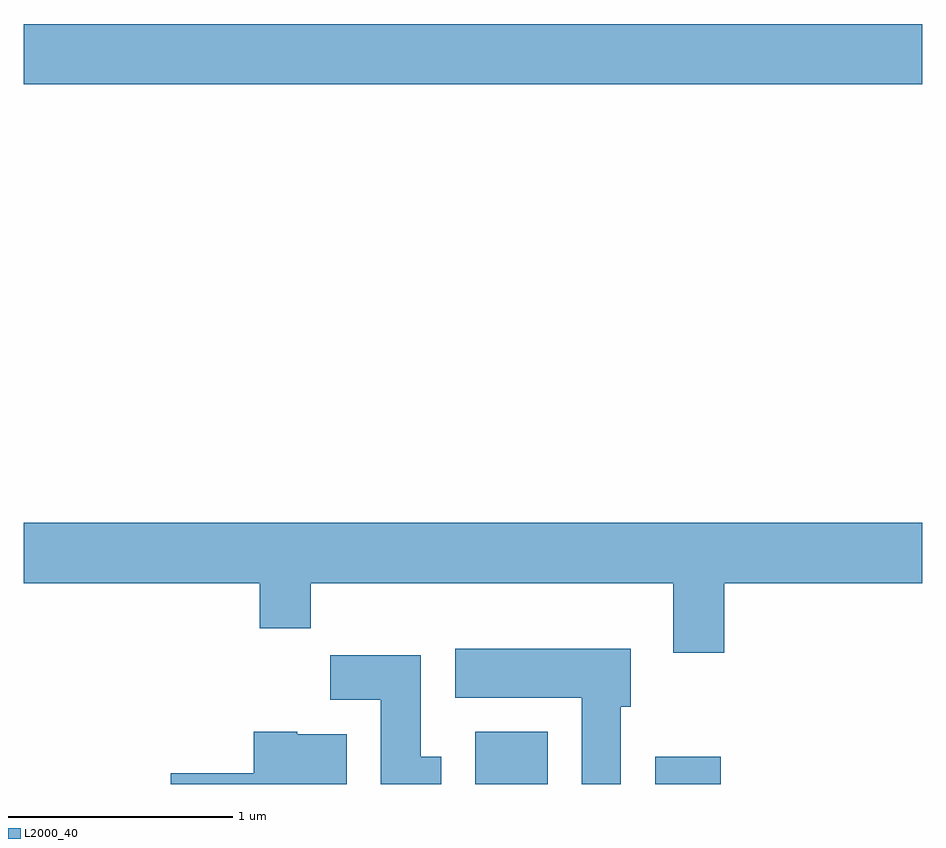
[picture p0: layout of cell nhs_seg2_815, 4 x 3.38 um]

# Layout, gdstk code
import gdstk
lib = gdstk.Library(unit=1e-6, precision=1e-09)
def R(c, l, rs):  # rectangles x0, y0, x1, y1
    for r in rs: c.add(gdstk.rectangle(r[:2], r[2:], *l))
def P(c, l, *ps):  # polygons
    for p in ps: c.add(gdstk.Polygon(p, *l))
L2000_40 = (2000, 40)

nhs_seg2_815 = lib.new_cell('nhs_seg2_815')
R(nhs_seg2_815, L2000_40, [(209.621,1111.802,209.944,1112.034), (210.421,1111.802,210.714,1111.924), (207.611,1114.916,211.611,1115.184)])
P(nhs_seg2_815, L2000_40, [(210.729,1112.696),(211.611,1112.696),(211.611,1112.964),(207.611,1112.964),(207.611,1112.696),(208.661,1112.696),(208.661,1112.496),(208.889,1112.496),(208.889,1112.696),(210.501,1112.696),(210.501,1112.386),(210.729,1112.386)],
  [(210.269,1112.146),(210.314,1112.146),(210.314,1112.404),(209.531,1112.404),(209.531,1112.186),(210.096,1112.186),(210.096,1111.802),(210.269,1111.802)],
  [(209.469,1111.924),(209.379,1111.924),(209.379,1112.374),(208.976,1112.374),(208.976,1112.176),(209.201,1112.176),(209.201,1111.802),(209.469,1111.802)],
  [(209.049,1112.024),(208.83,1112.024),(208.83,1112.034),(208.636,1112.034),(208.636,1111.849),(208.266,1111.849),(208.266,1111.802),(209.049,1111.802)])

lib.write_gds('nhs_seg2_815.gds')
